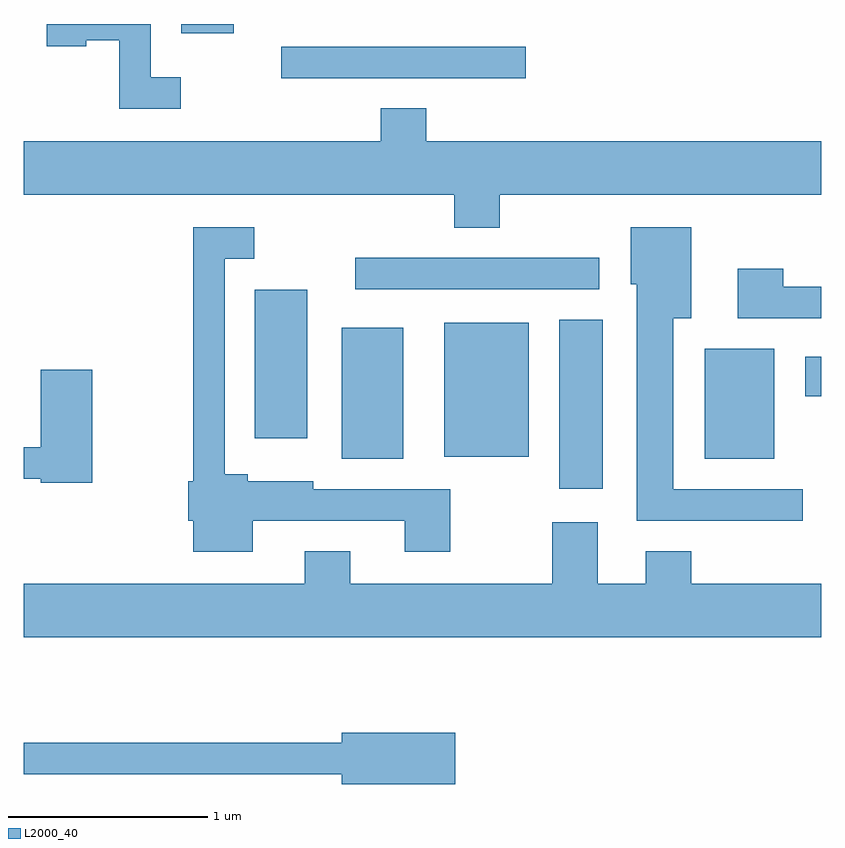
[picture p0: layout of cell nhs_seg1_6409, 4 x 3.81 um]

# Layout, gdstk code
import gdstk
lib = gdstk.Library(unit=1e-6, precision=1e-09)
def R(c, l, rs):  # rectangles x0, y0, x1, y1
    for r in rs: c.add(gdstk.rectangle(r[:2], r[2:], *l))
def P(c, l, *ps):  # polygons
    for p in ps: c.add(gdstk.Polygon(p, *l))
L2000_40 = (2000, 40)

nhs_seg1_6409 = lib.new_cell('nhs_seg1_6409')
R(nhs_seg1_6409, L2000_40, [(380.296,951.381,380.514,952.229), (379.206,951.531,379.514,952.189), (381.026,951.531,381.374,952.084), (379.721,951.541,380.144,952.214), (378.771,951.636,379.034,952.379), (381.531,951.846,381.611,952.044), (379.273,952.381,380.498,952.539), (378.903,953.441,380.128,953.599), (378.401,953.666,378.664,953.712)])
P(nhs_seg1_6409, L2000_40, [(378.398,953.444),(378.249,953.444),(378.249,953.712),(377.726,953.712),(377.726,953.601),(377.924,953.601),(377.924,953.631),(378.091,953.631),(378.091,953.286),(378.398,953.286)],
  [(379.771,952.691),(379.999,952.691),(379.999,952.856),(381.611,952.856),(381.611,953.124),(379.629,953.124),(379.629,953.289),(379.401,953.289),(379.401,953.124),(377.611,953.124),(377.611,952.856),(379.771,952.856)],
  [(381.518,951.379),(380.869,951.379),(380.869,952.236),(380.959,952.236),(380.959,952.694),(380.656,952.694),(380.656,952.406),(380.686,952.406),(380.686,951.221),(381.518,951.221)],
  [(378.759,951.221),(379.521,951.221),(379.521,951.066),(379.749,951.066),(379.749,951.379),(379.064,951.379),(379.064,951.419),(378.734,951.419),(378.734,951.454),(378.619,951.454),(378.619,952.536),(378.768,952.536),(378.768,952.694),(378.461,952.694),(378.461,951.419),(378.436,951.419),(378.436,951.221),(378.461,951.221),(378.461,951.066),(378.759,951.066)],
  [(381.611,952.394),(381.419,952.394),(381.419,952.484),(381.191,952.484),(381.191,952.236),(381.611,952.236)],
  [(377.954,951.979),(377.696,951.979),(377.696,951.589),(377.611,951.589),(377.611,951.431),(377.696,951.431),(377.696,951.411),(377.954,951.411)],
  [(381.611,950.904),(380.959,950.904),(380.959,951.069),(380.731,951.069),(380.731,950.904),(380.489,950.904),(380.489,951.214),(380.261,951.214),(380.261,950.904),(379.249,950.904),(379.249,951.069),(379.021,951.069),(379.021,950.904),(377.611,950.904),(377.611,950.636),(381.611,950.636)],
  [(379.774,950.159),(379.206,950.159),(379.206,950.109),(377.611,950.109),(377.611,949.951),(379.206,949.951),(379.206,949.901),(379.774,949.901)])

lib.write_gds('nhs_seg1_6409.gds')
